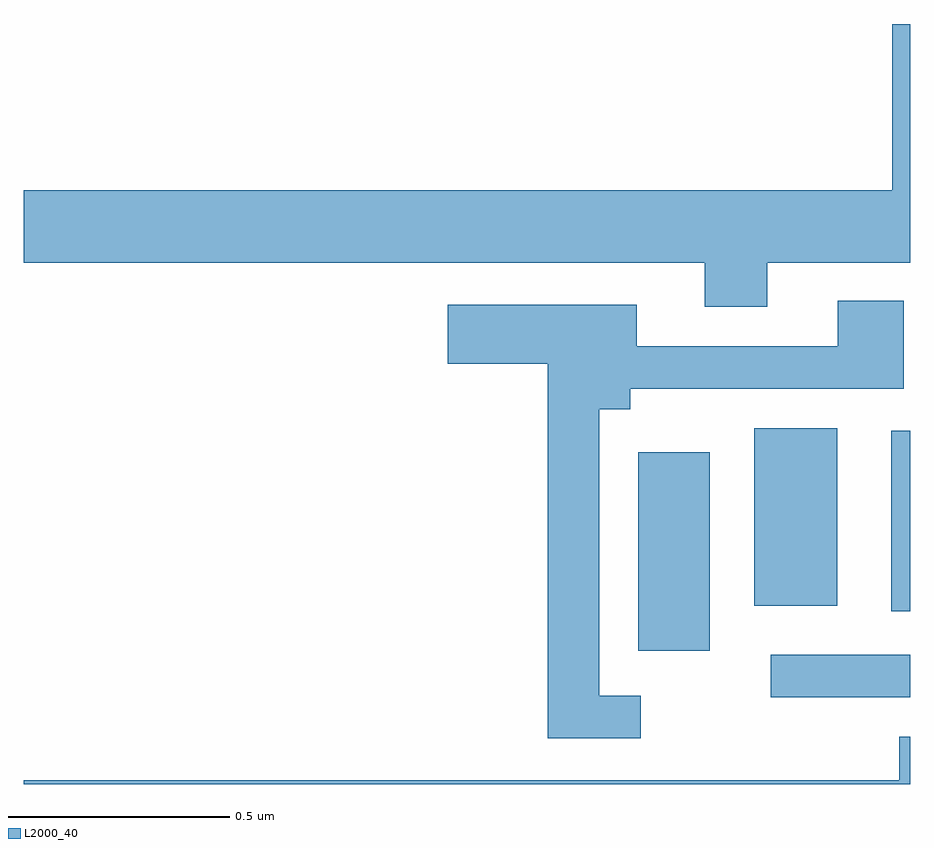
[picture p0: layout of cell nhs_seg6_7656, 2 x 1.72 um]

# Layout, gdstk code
import gdstk
lib = gdstk.Library(unit=1e-6, precision=1e-09)
def R(c, l, rs):  # rectangles x0, y0, x1, y1
    for r in rs: c.add(gdstk.rectangle(r[:2], r[2:], *l))
def P(c, l, *ps):  # polygons
    for p in ps: c.add(gdstk.Polygon(p, *l))
L2000_40 = (2000, 40)

nhs_seg6_7656 = lib.new_cell('nhs_seg6_7656')
R(nhs_seg6_7656, L2000_40, [(212.685,939.696,213,939.792), (212.387,939.801,212.548,940.249), (212.957,939.89,213,940.297), (212.648,939.902,212.836,940.303)])
P(nhs_seg6_7656, L2000_40, [(212.677,940.676),(213,940.676),(213,941.215),(212.96,941.215),(212.96,940.84),(211,940.84),(211,940.676),(212.537,940.676),(212.537,940.577),(212.677,940.577)],
  [(212.392,939.699),(212.298,939.699),(212.298,940.346),(212.368,940.346),(212.368,940.392),(212.985,940.392),(212.985,940.591),(212.837,940.591),(212.837,940.488),(212.383,940.488),(212.383,940.582),(211.956,940.582),(211.956,940.448),(212.182,940.448),(212.182,939.603),(212.392,939.603)],
  [(213,939.607),(212.975,939.607),(212.975,939.508),(211,939.508),(211,939.5),(213,939.5)])

lib.write_gds('nhs_seg6_7656.gds')
